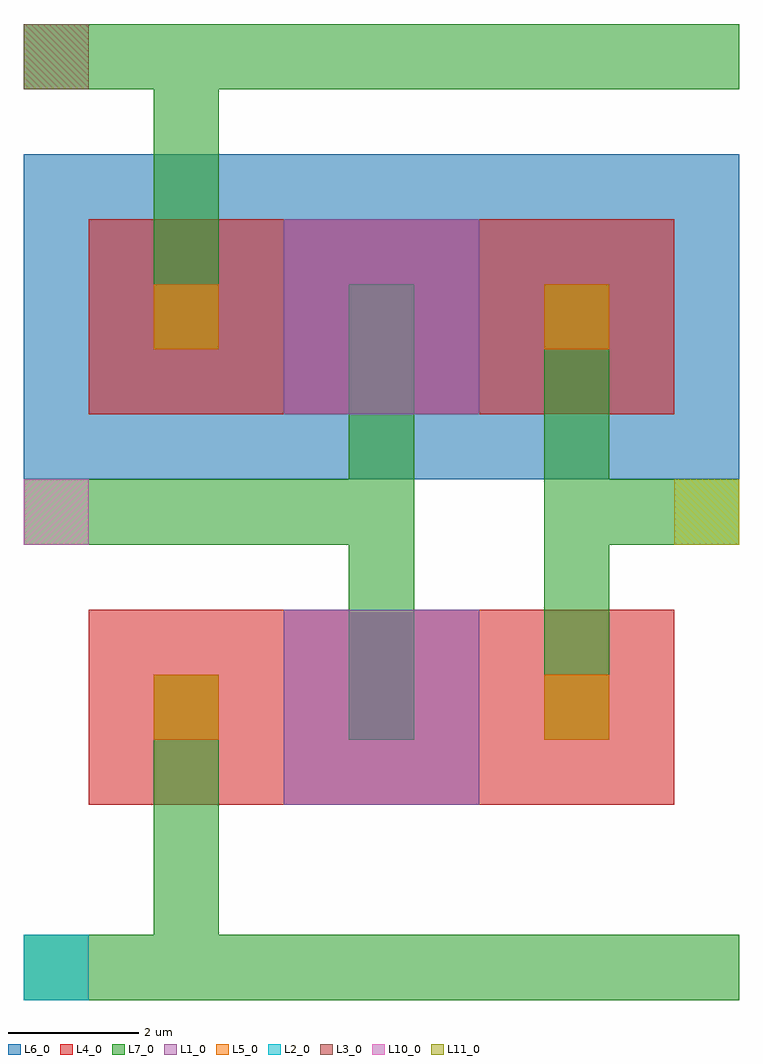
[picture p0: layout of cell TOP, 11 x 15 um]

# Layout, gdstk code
import gdstk
lib = gdstk.Library(unit=1e-6, precision=1e-06)
def R(c, l, rs):  # rectangles x0, y0, x1, y1
    for r in rs: c.add(gdstk.rectangle(r[:2], r[2:], *l))
def P(c, l, *ps):  # polygons
    for p in ps: c.add(gdstk.Polygon(p, *l))
L1_0 = (1, 0)
L2_0 = (2, 0)
L3_0 = (3, 0)
L4_0 = (4, 0)
L5_0 = (5, 0)
L6_0 = (6, 0)
L7_0 = (7, 0)
L10_0 = (10, 0)
L11_0 = (11, 0)

top = lib.new_cell('TOP')
R(top, L1_0, [(0,-4,3,-1), (0,2,3,5)])
R(top, L2_0, [(-4,-7,-3,-6)])
R(top, L3_0, [(-4,7,-3,8)])
R(top, L4_0, [(-3,-4,6,-1), (-3,2,6,5)])
R(top, L5_0, [(-2,-3,-1,-2), (4,-3,5,-2), (-2,3,-1,4), (4,3,5,4)])
R(top, L6_0, [(-4,1,7,6)])
P(top, L7_0, [(-2,3),(-2,7),(-4,7),(-4,8),(7,8),(7,7),(-1,7),(-1,3)],
  [(-4,-7),(-4,-6),(-2,-6),(-2,-2),(-1,-2),(-1,-6),(7,-6),(7,-7)],
  [(1,-3),(1,0),(-4,0),(-4,1),(1,1),(1,4),(2,4),(2,-3)],
  [(4,-3),(4,4),(5,4),(5,1),(7,1),(7,0),(5,0),(5,-3)])
R(top, L10_0, [(-4,0,-3,1)])
R(top, L11_0, [(6,0,7,1)])

lib.write_gds('TOP.gds')
